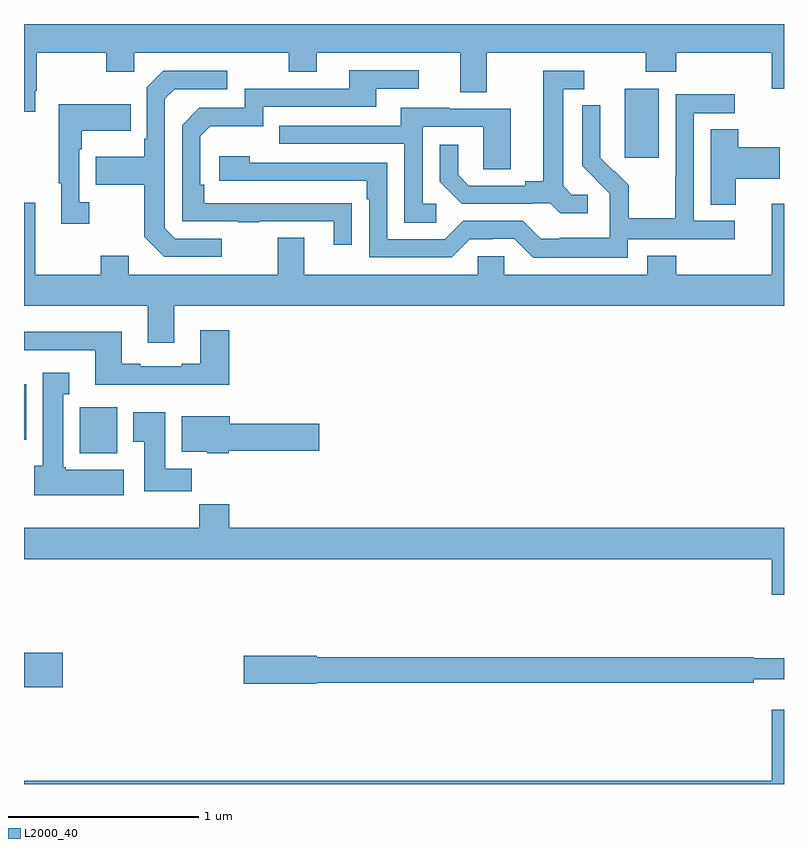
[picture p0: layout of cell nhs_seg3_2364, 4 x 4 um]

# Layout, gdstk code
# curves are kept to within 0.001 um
import gdstk
lib = gdstk.Library(unit=1e-6, precision=1e-09)
def R(c, l, rs):  # rectangles x0, y0, x1, y1
    for r in rs: c.add(gdstk.rectangle(r[:2], r[2:], *l))
def P(c, l, *ps):  # polygons
    for p in ps: c.add(gdstk.Polygon(p, *l))
L2000_40 = (2000, 40)

nhs_seg3_2364 = lib.new_cell('nhs_seg3_2364')
R(nhs_seg3_2364, L2000_40, [(233,698.909,233.203,699.092), (233.294,700.142,233.491,700.384), (233,700.212,233.011,700.504), (236.162,701.697,236.341,702.058)])
P(nhs_seg3_2364, L2000_40, [(233.059,702.049),(233.067,702.049),(233.067,702.248),(233.434,702.248),(233.434,702.149),(233.58,702.149),(233.58,702.248),(234.394,702.248),(234.394,702.149),(234.541,702.149),(234.541,702.248),(235.295,702.248),(235.295,702.04),(235.435,702.04),(235.435,702.248),(236.272,702.248),(236.272,702.149),(236.432,702.149),(236.432,702.248),(236.936,702.248),(236.936,702.06),(237,702.06),(237,702.4),(233,702.4),(233,701.937),(233.059,701.937)],
  [(234.725,701.456),(233.948,701.457),(233.948,701.554),(233.928,701.554),(233.928,701.808),(233.981,701.861),(234.258,701.861),(234.258,701.964),(234.853,701.964),(234.853,702.06),(235.078,702.06),(235.078,702.156),(234.713,702.156),(234.713,702.06),(234.162,702.06),(234.162,701.958),(233.922,701.958),(233.832,701.868),(233.832,701.361),(234.127,701.361),(234.127,701.356),(234.239,701.356),(234.239,701.361),(234.629,701.361),(234.629,701.238),(234.725,701.238)],
  [(235.966,701.502),(235.884,701.502),(235.837,701.549),(235.837,702.057),(235.948,702.057),(235.948,702.153),(235.733,702.153),(235.733,701.573),(235.637,701.573),(235.637,701.55),(235.342,701.55),(235.285,701.607),(235.285,701.764),(235.188,701.764),(235.188,701.57),(235.304,701.454),(235.676,701.454),(235.676,701.457),(235.77,701.457),(235.822,701.405),(235.966,701.405)],
  [(234.04,701.271),(233.796,701.271),(233.742,701.325),(233.742,702.006),(233.793,702.057),(234.07,702.057),(234.07,702.153),(233.733,702.153),(233.646,702.066),(233.646,701.797),(233.634,701.797),(233.634,701.701),(233.377,701.701),(233.377,701.554),(233.634,701.554),(233.634,701.281),(233.739,701.175),(234.04,701.175)],
  [(236.178,701.268),(236.74,701.268),(236.74,701.364),(236.526,701.364),(236.526,701.931),(236.74,701.931),(236.74,702.03),(236.43,702.03),(236.43,701.6),(236.428,701.6),(236.428,701.377),(236.183,701.377),(236.183,701.551),(236.106,701.628),(236.103,701.625),(236.033,701.696),(236.034,701.972),(235.938,701.972),(235.938,701.654),(236.084,701.506),(236.084,701.409),(236.082,701.409),(236.082,701.275),(235.819,701.275),(235.819,701.271),(235.719,701.271),(235.626,701.364),(235.311,701.364),(235.215,701.268),(234.912,701.268),(234.912,701.67),(234.188,701.67),(234.188,701.704),(234.027,701.704),(234.027,701.574),(234.803,701.574),(234.803,701.477),(234.816,701.477),(234.816,701.172),(235.251,701.172),(235.347,701.268),(235.466,701.268),(235.466,701.271),(235.581,701.271),(235.681,701.171),(236.178,701.171)],
  [(233.344,701.462),(233.292,701.462),(233.292,701.741),(233.305,701.741),(233.305,701.837),(233.561,701.837),(233.561,701.977),(233.184,701.977),(233.184,701.561),(233.195,701.561),(233.195,701.349),(233.344,701.349)],
  [(235.171,701.454),(235.098,701.454),(235.098,701.859),(235.416,701.859),(235.416,701.635),(235.561,701.635),(235.561,701.955),(235.237,701.955),(235.237,701.959),(234.983,701.959),(234.983,701.865),(234.343,701.865),(234.343,701.769),(235.002,701.769),(235.002,701.353),(235.171,701.353)],
  [(236.746,701.585),(236.977,701.585),(236.977,701.751),(236.759,701.751),(236.759,701.846),(236.615,701.846),(236.615,701.449),(236.746,701.449)],
  [(233.791,700.916),(237,700.916),(237,701.455),(236.936,701.455),(236.936,701.08),(236.432,701.08),(236.432,701.179),(236.279,701.179),(236.279,701.08),(235.527,701.08),(235.527,701.178),(235.389,701.178),(235.389,701.08),(234.475,701.08),(234.475,701.275),(234.335,701.275),(234.335,701.08),(233.551,701.08),(233.551,701.179),(233.404,701.179),(233.404,701.08),(233.059,701.08),(233.059,701.458),(233,701.458),(233,700.916),(233.651,700.916),(233.651,700.722),(233.791,700.722)],
  [(234.08,700.789),(233.927,700.789),(233.927,700.612),(233.831,700.612),(233.831,700.599),(233.611,700.599),(233.611,700.612),(233.515,700.612),(233.515,700.78),(233,700.78),(233,700.683),(233.375,700.683),(233.375,700.502),(234.08,700.502)],
  [(233.524,700.054),(233.22,700.054),(233.22,700.068),(233.206,700.068),(233.206,700.451),(233.239,700.451),(233.239,700.564),(233.099,700.564),(233.099,700.074),(233.054,700.074),(233.054,699.92),(233.524,699.92)],
  [(233.882,700.06),(233.743,700.06),(233.743,700.357),(233.576,700.357),(233.576,700.201),(233.633,700.201),(233.633,699.942),(233.882,699.942)],
  [(234.078,700.153),(234.553,700.153),(234.553,700.295),(234.082,700.295),(234.082,700.336),(233.831,700.336),(233.831,700.148),(233.964,700.148),(233.964,700.142),(234.078,700.142)],
  [(237,699.748),(234.08,699.748),(234.08,699.872),(233.923,699.872),(233.923,699.748),(233,699.748),(233,699.584),(236.936,699.584),(236.936,699.396),(237,699.396)],
  [(234.54,698.932),(236.84,698.932),(236.84,698.951),(237,698.951),(237,699.061),(236.84,699.061),(236.84,699.068),(234.54,699.068),(234.54,699.074),(234.156,699.074),(234.156,698.927),(234.54,698.927)],
  [(237,698.791),(236.936,698.791),(236.936,698.416),(233,698.416),(233,698.4),(237,698.4)])

lib.write_gds('nhs_seg3_2364.gds')
